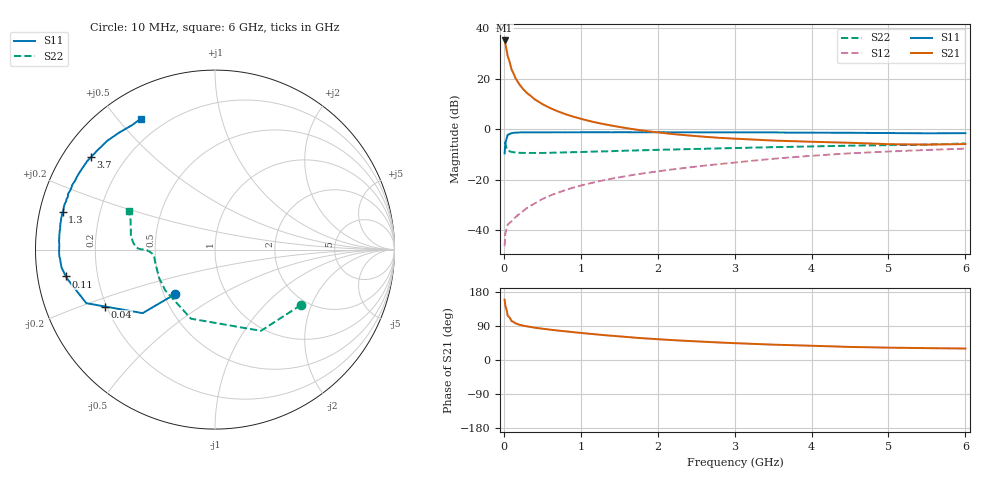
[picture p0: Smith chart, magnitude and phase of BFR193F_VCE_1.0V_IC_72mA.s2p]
! Infineon Technologies  Discrete & RF Semiconductors
! BFR193F
! VCE =  1.0 V,  IC =  72 mA
! Common Emitter S-Parameters:  Jan 2017
# GHz  S  MA  R  50
!  f  S11  S21  S12  S22
! GHz  MAG  ANG  MAG  ANG  MAG  ANG  MAG  ANG
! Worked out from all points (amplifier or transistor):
!   77 points, 10 MHz to 6 GHz, reference 50 ohm
!   highest |S21| = 35.1 dB at 10 MHz (marker M1)
!   |S21| within 3 dB of that: start of sweep to 30.72 MHz
!   unconditionally stable (mu >= 1): start of sweep to 10.86 MHz; 262.5 MHz to end of sweep
!   at 130 MHz: K = 0.77, MSG = 28.6 dB, |S12| = -35.4 dB
!   at 2.2 GHz: K = 1.14, MAG = 4.7 dB, |S12| = -15.8 dB
!   at 6 GHz: K = 1.03, MAG = -0.2 dB, |S12| = -7.7 dB
!   S11 on the Smith chart (normalised r, x): 10 MHz: 0.57, -0.32; 40 MHz: 0.19, -0.24; 110 MHz: 0.09, -0.09; 1.3 GHz: 0.07, +0.12; 3.7 GHz: 0.08, +0.33; 6 GHz: 0.12, +0.58
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0.01  0.3339 -131.9  56.92 159.3  0.0049 69.2  0.5698 -32.8
0.02  0.5361 -138.7  48.37 142.3  0.0088 55.2  0.52 -60.5
0.04  0.6895 -152.6  33.88 128.6  0.0116 46.2  0.4074 -90.6
0.05  0.7767 -157.4  27.92 116.8  0.0131 43.2  0.4075 -109.2
0.1  0.8397 -168.9  15.21 102.6  0.0152 44.4  0.3584 -140.6
0.11  0.8436 -169.8  14.23 101.8  0.0158 45.6  0.3552 -143.0
0.15  0.8611 -173.4  10.35 96.9  0.0182 49.4  0.3489 -153.0
0.2  0.8641 -176.1  7.785 93.2  0.0212 54.0  0.3428 -159.1
0.25  0.8684 -177.9  6.237 90.7  0.0242 58.3  0.341 -163.8
0.3  0.8689 -179.4  5.217 88.7  0.0277 61.2  0.3409 -166.3
0.4  0.8679 178.3  3.916 85.2  0.0341 66.2  0.3404 -170.2
0.5  0.8702 176.7  3.147 82.6  0.0417 68.7  0.3405 -172.4
0.7  0.8716 173.4  2.27 77.7  0.0557 71.3  0.3462 -174.9
0.9  0.8731 170.8  1.781 73.5  0.0703 73.1  0.3526 -176.6
1.1  0.8743 168.6  1.474 69.5  0.0841 73.3  0.3598 -177.5
1.3  0.8745 166.2  1.264 65.7  0.0986 73.3  0.3658 -178.4
2.1  0.8729 158.3  0.837 53.7  0.1544 71.7  0.3954 -179.9
3.1  0.8674 149.1  0.642 43.7  0.2282 68.0  0.429 179.1
3.7  0.8618 143.2  0.586 39.4  0.2763 64.5  0.4491 176.6
4.1  0.8562 139.1  0.562 37.0  0.3065 61.6  0.4615 174.0
5.1  0.8404 128.3  0.506 32.3  0.3688 53.7  0.488 164.3
6  0.8382 119.4  0.511 30.3  0.4142 47.3  0.525 155.8
